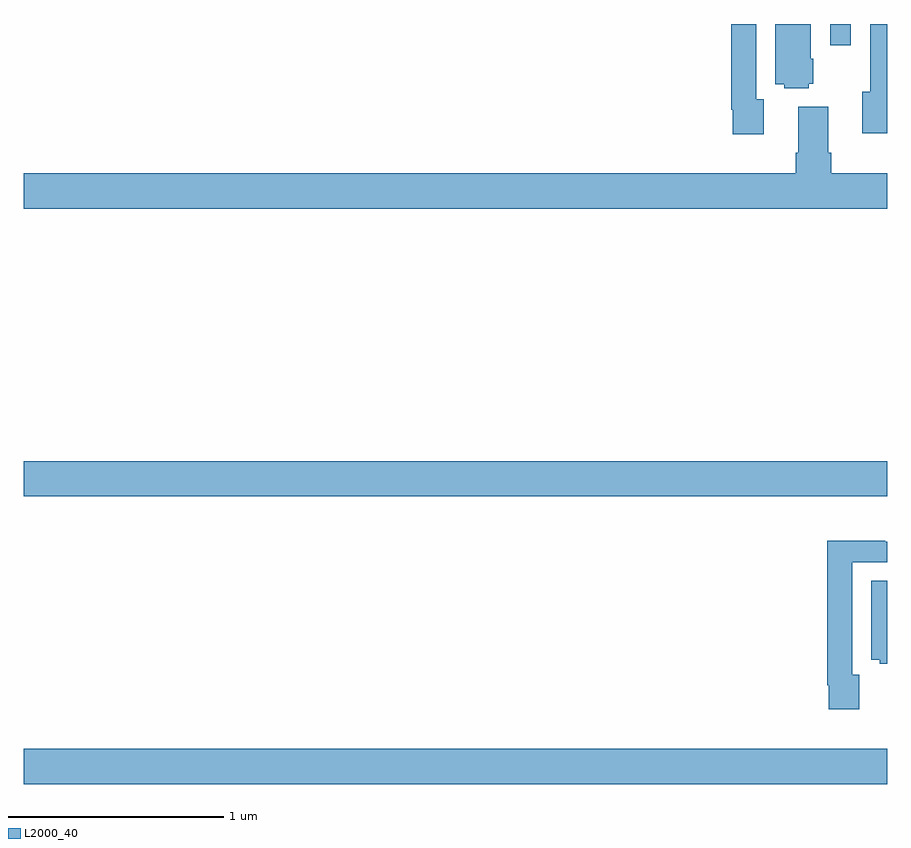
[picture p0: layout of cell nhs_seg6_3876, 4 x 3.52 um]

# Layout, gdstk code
import gdstk
lib = gdstk.Library(unit=1e-6, precision=1e-09)
def R(c, l, rs):  # rectangles x0, y0, x1, y1
    for r in rs: c.add(gdstk.rectangle(r[:2], r[2:], *l))
def P(c, l, *ps):  # polygons
    for p in ps: c.add(gdstk.Polygon(p, *l))
L2000_40 = (2000, 40)

nhs_seg6_3876 = lib.new_cell('nhs_seg6_3876')
R(nhs_seg6_3876, L2000_40, [(339,969.98,343,970.144), (339,971.312,343,971.476), (342.735,973.401,342.831,973.5)])
P(nhs_seg6_3876, L2000_40, [(342.636,973.224),(342.658,973.224),(342.658,973.338),(342.646,973.338),(342.646,973.5),(342.482,973.5),(342.482,973.22),(342.522,973.22),(342.522,973.202),(342.636,973.202)],
  [(343,973.5),(342.921,973.5),(342.921,973.186),(342.884,973.186),(342.884,972.995),(343,972.995)],
  [(342.427,973.151),(342.393,973.151),(342.393,973.5),(342.277,973.5),(342.277,973.102),(342.285,973.102),(342.285,972.99),(342.427,972.99)],
  [(343,972.808),(342.74,972.808),(342.74,972.904),(342.727,972.904),(342.727,973.117),(342.587,973.117),(342.587,972.904),(342.575,972.904),(342.575,972.808),(339,972.808),(339,972.644),(343,972.644)],
  [(342.871,970.487),(342.837,970.487),(342.837,971.007),(343,971.007),(343,971.103),(342.991,971.103),(342.991,971.107),(342.721,971.107),(342.721,970.438),(342.729,970.438),(342.729,970.326),(342.871,970.326)],
  [(343,970.922),(342.926,970.922),(342.926,970.556),(342.966,970.556),(342.966,970.538),(343,970.538)])

lib.write_gds('nhs_seg6_3876.gds')
